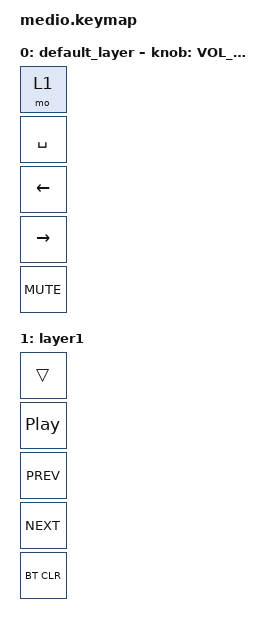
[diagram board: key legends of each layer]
#include <behaviors.dtsi>
#include <dt-bindings/zmk/keys.h>
#include <dt-bindings/zmk/bt.h>

/ {
    keymap {
        compatible = "zmk,keymap";

        default_layer {
            bindings = <
                &mo 1                   // Key 1: switch to layer 1
                &kp SPACE               // Key 2
                &kp LEFT                // Key 3
                &kp RIGHT               // Key 4
                &kp C_MUTE              // Key 5: encoder button
            >;
            sensor-bindings = <&inc_dec_kp C_VOL_UP C_VOL_DN>;
        };

        layer1 {
            bindings = <
                &trans                  // Key 1
                &kp C_PLAY_PAUSE        // Key 2
                &kp C_PREV              // Key 3
                &kp C_NEXT              // Key 4
                &bt BT_CLR              // Key 5: encoder button
            >;
        };
    };
};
